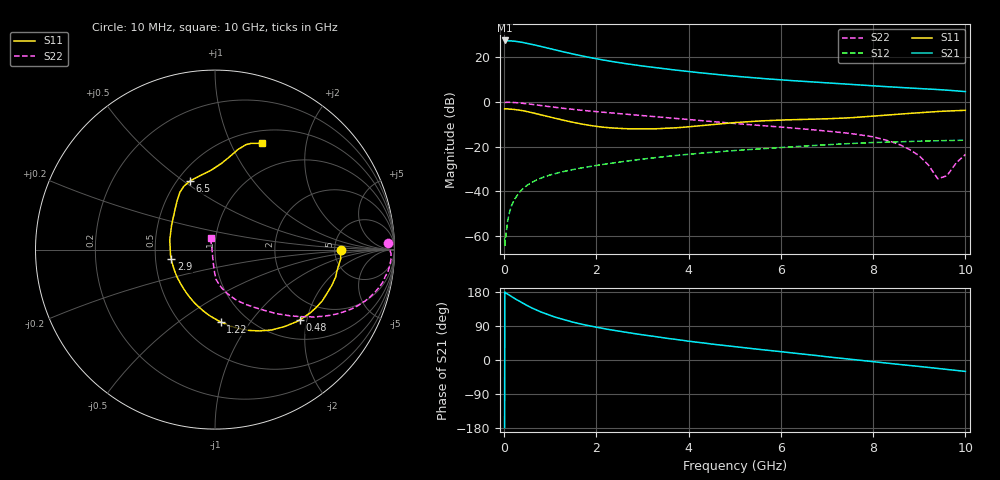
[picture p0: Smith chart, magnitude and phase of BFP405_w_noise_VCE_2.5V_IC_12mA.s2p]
! Infineon Technologies  Discrete & RF Semiconductors
! BFP405
! VCE =  2.5 V,  IC =  12 mA
! Common Emitter S-Parameters:  Jan 2016
# GHz  S  MA  R  50
!  f  S11  S21  S12  S22
! GHz  MAG  ANG  MAG  ANG  MAG  ANG  MAG  ANG
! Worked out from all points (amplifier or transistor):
!   233 points, 10 MHz to 10 GHz, reference 50 ohm
!   highest |S21| = 27.4 dB at 10 MHz (marker M1)
!   |S21| within 3 dB of that: start of sweep to 863 MHz
!   unconditionally stable (mu >= 1): start of sweep to 17.47 MHz; 2.398 GHz to end of sweep
!   at 200 MHz: K = 0.16, MSG = 35.9 dB, |S12| = -44.6 dB
!   at 1.74 GHz: K = 0.82, MSG = 24.8 dB, |S12| = -29.3 dB
!   at 10 GHz: K = 1.37, MAG = 7.2 dB, |S12| = -17.1 dB
!   lowest NFmin = 1.77 dB at 900 MHz
!   S11 on the Smith chart (normalised r, x): 10 MHz: 5.68, -0.05; 480 MHz: 1.45, -1.82; 1.22 GHz: 0.76, -0.73; 2.9 GHz: 0.61, -0.07; 6.5 GHz: 0.58, +0.53; 10 GHz: 0.65, +1.32
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0.01  0.7007 -0.2  23.55 -178.2  0.0009 10.7  0.9638 2.3
0.02  0.6977 -1.2  23.47 177.5  0.0008 104.0  0.9738 0.2
0.05  0.7029 -3.9  23.18 176.0  0.0013 88.0  0.9804 -1.1
0.15  0.689 -12.9  22.98 168.3  0.0045 83.8  0.9777 -5.2
0.24  0.6721 -20.4  22.56 161.4  0.007 80.8  0.9623 -8.5
0.4  0.6372 -33.5  21.3 150.1  0.0113 75.9  0.9327 -13.6
0.48  0.6143 -39.5  20.52 144.9  0.0133 73.7  0.9132 -15.9
0.6  0.5772 -48.1  19.29 137.4  0.0159 70.7  0.8818 -19.1
0.8  0.5162 -61.4  17.29 126.6  0.0199 66.6  0.8292 -23.5
1  0.459 -73.3  15.4 117.4  0.0234 63.9  0.7797 -27.0
1.22  0.4039 -85.6  13.59 108.9  0.0268 61.7  0.7315 -30.1
1.4  0.3668 -95.4  12.32 102.7  0.0295 60.2  0.6968 -32.3
1.68  0.3215 -109.8  10.67 94.5  0.0335 58.5  0.6499 -35.2
2.2  0.2692 -135.9  8.436 81.9  0.041 55.8  0.5812 -39.7
2.9  0.2492 -168.1  6.541 68.3  0.0513 52.1  0.5059 -45.2
3.4  0.2538 171.6  5.615 59.7  0.0588 48.9  0.4565 -49.2
5.1  0.3507 126.3  3.674 33.8  0.0833 36.5  0.3232 -64.4
6.5  0.4071 109.8  2.872 15.3  0.1032 26.1  0.2484 -75.3
6.8  0.4139 104.8  2.735 11.4  0.1075 23.6  0.2329 -77.5
8.4  0.517 81.7  2.154 -9.6  0.1275 8.9  0.1288 -90.9
9.4  0.6099 73.5  1.886 -22.4  0.1358 0.3  0.0192 -143.0
10  0.6483 66.1  1.699 -30.1  0.1396 -4.2  0.0671 111.5
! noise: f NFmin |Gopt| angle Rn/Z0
0.9  1.77  0.15  3  0.32
1.8  2.01  0.1  -12  0.29
2.4  2.13  0.09  -14  0.31
3  2.17  0.05  -9  0.29
4  2.32  0.08  -88  0.29
5  2.7  0.15  -96  0.31
